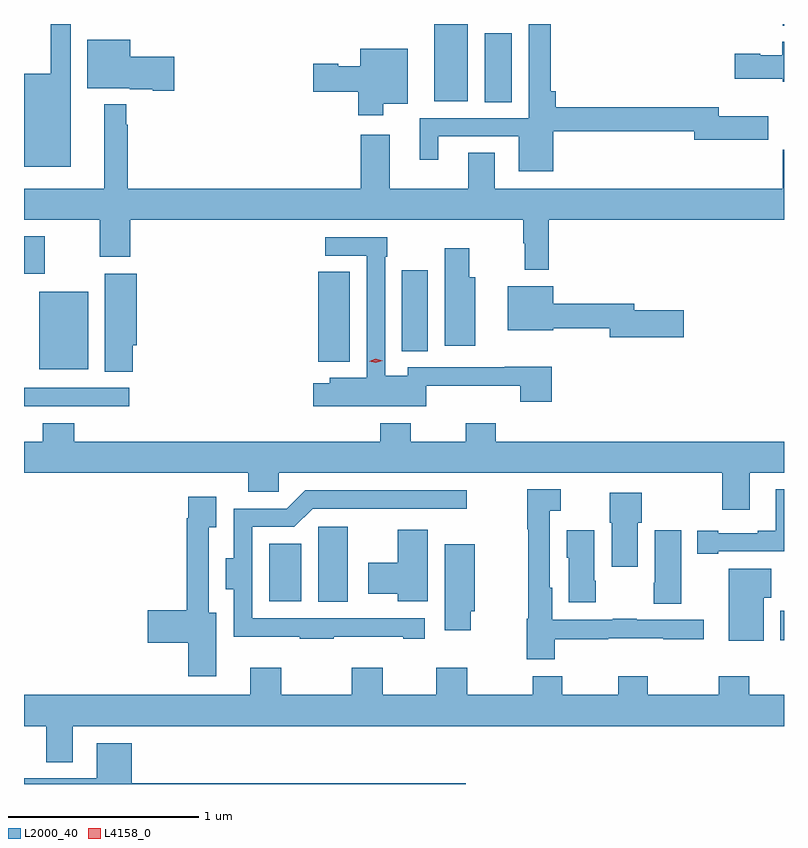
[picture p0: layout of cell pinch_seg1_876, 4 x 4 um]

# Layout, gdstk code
import gdstk
lib = gdstk.Library(unit=1e-6, precision=1e-09)
def R(c, l, rs):  # rectangles x0, y0, x1, y1
    for r in rs: c.add(gdstk.rectangle(r[:2], r[2:], *l))
def P(c, l, *ps):  # polygons
    for p in ps: c.add(gdstk.Polygon(p, *l))
L2000_40 = (2000, 40)
L4158_0 = (4158, 0)

pinch_seg1_876 = lib.new_cell('pinch_seg1_876')
R(pinch_seg1_876, L2000_40, [(536.093,538.863,536.112,539.019), (533.66,539.065,533.815,539.46), (533.402,539.069,533.572,539.371), (532.112,540.096,532.666,540.192), (532.193,540.29,532.45,540.697), (533.66,540.329,533.827,540.803), (534.101,540.385,534.238,540.811), (532.112,540.792,532.221,540.991), (534.536,541.696,534.679,542.059), (534.272,541.7,534.448,542.107), (536.105,542.099,536.112,542.107)])
P(pinch_seg1_876, L2000_40, [(532.357,542.107),(532.253,542.107),(532.253,541.846),(532.112,541.846),(532.112,541.355),(532.357,541.355)],
  [(534.898,541.542),(535.64,541.542),(535.64,541.499),(536.029,541.499),(536.029,541.621),(535.768,541.621),(535.768,541.67),(534.911,541.67),(534.911,541.753),(534.884,541.753),(534.884,542.107),(534.768,542.107),(534.768,541.611),(534.194,541.611),(534.194,541.392),(534.292,541.392),(534.292,541.515),(534.716,541.515),(534.716,541.331),(534.898,541.331)],
  [(532.903,541.935),(532.672,541.935),(532.672,542.023),(532.445,542.023),(532.445,541.769),(532.668,541.769),(532.668,541.763),(532.79,541.763),(532.79,541.757),(532.903,541.757)],
  [(536.112,542.014),(536.102,542.014),(536.102,541.942),(535.986,541.942),(535.986,541.95),(535.854,541.95),(535.854,541.82),(536.106,541.82),(536.106,541.802),(536.112,541.802)],
  [(534.004,541.688),(534.133,541.688),(534.133,541.978),(533.882,541.978),(533.882,541.885),(533.766,541.885),(533.766,541.898),(533.634,541.898),(533.634,541.751),(533.87,541.751),(533.87,541.626),(534.004,541.626)],
  [(533.885,541.525),(533.885,541.24),(532.657,541.24),(532.657,541.577),(532.649,541.577),(532.649,541.684),(532.535,541.684),(532.535,541.24),(532.112,541.24),(532.112,541.076),(532.51,541.076),(532.51,540.882),(532.67,540.882),(532.67,541.076),(534.739,541.076),(534.739,540.953),(534.747,540.953),(534.747,540.813),(534.875,540.813),(534.875,541.076),(536.112,541.076),(536.112,541.445),(536.105,541.445),(536.105,541.24),(534.589,541.24),(534.589,541.43),(534.449,541.43),(534.449,541.24),(534.037,541.24),(534.037,541.525)],
  [(534.228,540.203),(534.725,540.203),(534.725,540.12),(534.89,540.12),(534.89,540.302),(534.641,540.302),(534.641,540.3),(534.132,540.3),(534.132,540.256),(534.012,540.256),(534.012,540.881),(534.025,540.881),(534.025,540.984),(533.697,540.984),(533.697,540.888),(533.916,540.888),(533.916,540.244),(533.721,540.244),(533.721,540.217),(533.634,540.217),(533.634,540.095),(534.228,540.095)],
  [(534.487,540.775),(534.456,540.775),(534.456,540.928),(534.326,540.928),(534.326,540.414),(534.487,540.414)],
  [(532.685,540.417),(532.706,540.417),(532.706,540.793),(532.538,540.793),(532.538,540.277),(532.685,540.277)],
  [(535.585,540.6),(535.324,540.6),(535.324,540.634),(534.898,540.634),(534.898,540.727),(534.659,540.727),(534.659,540.494),(534.898,540.494),(534.898,540.505),(535.196,540.505),(535.196,540.458),(535.585,540.458)],
  [(535.933,539.744),(536.112,539.744),(536.112,539.908),(534.596,539.908),(534.596,540.007),(534.436,540.007),(534.436,539.908),(534.147,539.908),(534.147,540.007),(533.987,540.007),(533.987,539.908),(532.376,539.908),(532.376,540.007),(532.211,540.007),(532.211,539.908),(532.112,539.908),(532.112,539.744),(533.291,539.744),(533.291,539.646),(533.454,539.646),(533.454,539.744),(535.786,539.744),(535.786,539.55),(535.933,539.55)],
  [(535.765,539.331),(536.112,539.331),(536.112,539.659),(536.069,539.659),(536.069,539.44),(535.973,539.44),(535.973,539.427),(535.765,539.427),(535.765,539.44),(535.655,539.44),(535.655,539.319),(535.765,539.319)],
  [(534.905,538.87),(535.188,538.87),(535.188,538.874),(535.477,538.874),(535.477,538.87),(535.69,538.87),(535.69,538.971),(535.337,538.971),(535.337,538.976),(535.21,538.976),(535.21,538.971),(534.892,538.971),(534.892,539.139),(534.88,539.139),(534.88,539.546),(534.937,539.546),(534.937,539.659),(534.76,539.659),(534.76,539.449),(534.767,539.449),(534.767,538.978),(534.758,538.978),(534.758,538.763),(534.905,538.763)],
  [(533.741,538.883),(534.107,538.883),(534.107,538.872),(534.22,538.872),(534.22,538.98),(533.313,538.98),(533.313,539.46),(533.535,539.46),(533.631,539.556),(534.442,539.556),(534.442,539.652),(533.592,539.652),(533.496,539.556),(533.216,539.556),(533.216,539.296),(533.174,539.296),(533.174,539.132),(533.217,539.132),(533.217,538.883),(533.563,538.883),(533.563,538.872),(533.741,538.872)],
  [(535.342,539.481),(535.362,539.481),(535.362,539.641),(535.196,539.641),(535.196,539.481),(535.205,539.481),(535.205,539.25),(535.342,539.25)],
  [(533.125,539.008),(533.085,539.008),(533.085,539.459),(533.125,539.459),(533.125,539.62),(532.977,539.62),(532.977,539.507),(532.969,539.507),(532.969,539.021),(532.764,539.021),(532.764,538.85),(532.976,538.85),(532.976,538.674),(533.125,538.674)],
  [(534.238,539.446),(534.08,539.446),(534.08,539.272),(533.925,539.272),(533.925,539.108),(534.08,539.108),(534.08,539.069),(534.238,539.069)],
  [(535.122,539.176),(535.114,539.176),(535.114,539.443),(534.968,539.443),(534.968,539.298),(534.98,539.298),(534.98,539.064),(535.122,539.064)],
  [(535.57,539.443),(535.433,539.443),(535.433,539.167),(535.426,539.167),(535.426,539.056),(535.57,539.056)],
  [(534.462,539.015),(534.484,539.015),(534.484,539.368),(534.326,539.368),(534.326,538.917),(534.462,538.917)],
  [(536.005,539.087),(536.044,539.087),(536.044,539.239),(535.82,539.239),(535.82,538.862),(536.005,538.862)],
  [(532.369,538.412),(536.112,538.412),(536.112,538.576),(535.928,538.576),(535.928,538.675),(535.768,538.675),(535.768,538.576),(535.395,538.576),(535.395,538.675),(535.24,538.675),(535.24,538.576),(534.945,538.576),(534.945,538.675),(534.79,538.675),(534.79,538.576),(534.445,538.576),(534.445,538.72),(534.281,538.72),(534.281,538.576),(534.001,538.576),(534.001,538.72),(533.837,538.72),(533.837,538.576),(533.467,538.576),(533.467,538.72),(533.303,538.72),(533.303,538.576),(532.112,538.576),(532.112,538.412),(532.229,538.412),(532.229,538.222),(532.369,538.222)],
  [(534.436,538.111),(532.678,538.111),(532.678,538.321),(532.496,538.321),(532.496,538.137),(532.112,538.137),(532.112,538.107),(534.436,538.107)])
P(pinch_seg1_876, L4158_0, [(533.964,540.324),(533.93,540.333),(533.929,540.333),(533.93,540.333),(533.964,540.344),(533.999,540.335),(533.999,540.334),(533.999,540.334)])

lib.write_gds('pinch_seg1_876.gds')
